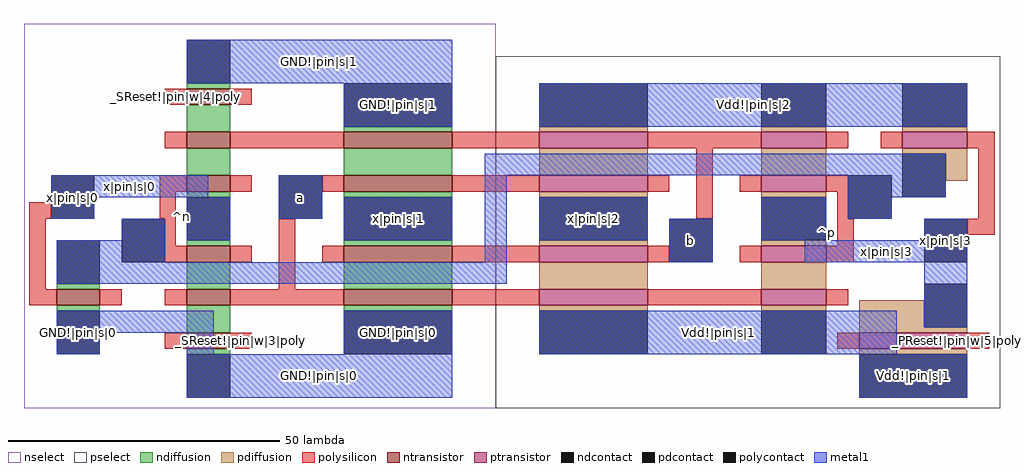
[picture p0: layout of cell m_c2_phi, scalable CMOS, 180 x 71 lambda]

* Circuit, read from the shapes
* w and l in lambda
.subckt m_c2_phi GND!|pin|s|0 GND!|pin|s|1 Vdd!|pin|s|1 Vdd!|pin|s|2 _PReset!|pin|w|5|poly _SReset!|pin|w|3|poly _SReset!|pin|w|4|poly a b x|pin|s|0 x|pin|s|1 x|pin|s|2 x|pin|s|3
M1 n1 x|pin|s|0 GND!|pin|s|0 VSUBS nfet w=8 l=3
M2 n2 _SReset!|pin|w|3|poly GND!|pin|s|0 VSUBS nfet w=8 l=3
M3 n3 a n2 VSUBS nfet w=8 l=3
M4 x|pin|s|0 n1 n3 VSUBS nfet w=8 l=3
M5 n4 n1 x|pin|s|0 VSUBS nfet w=8 l=3
M6 n5 b n4 VSUBS nfet w=8 l=3
M7 GND!|pin|s|1 _SReset!|pin|w|4|poly n5 VSUBS nfet w=8 l=3
M8 n6 a GND!|pin|s|0 VSUBS nfet w=20 l=3
M9 x|pin|s|1 b n6 VSUBS nfet w=20 l=3
M10 n7 a x|pin|s|1 VSUBS nfet w=20 l=3
M11 GND!|pin|s|1 b n7 VSUBS nfet w=20 l=3
M12 n8 a Vdd!|pin|s|1 NWELL pfet w=20 l=3
M13 x|pin|s|2 b n8 NWELL pfet w=20 l=3
M14 n9 a x|pin|s|2 NWELL pfet w=20 l=3
M15 Vdd!|pin|s|2 b n9 NWELL pfet w=20 l=3
M16 n10 a Vdd!|pin|s|1 NWELL pfet w=12 l=3
M17 x|pin|s|3 n1 n10 NWELL pfet w=12 l=3
M18 n11 n1 x|pin|s|3 NWELL pfet w=12 l=3
M19 Vdd!|pin|s|2 b n11 NWELL pfet w=12 l=3
M20 x|pin|s|3 _PReset!|pin|w|5|poly Vdd!|pin|s|1 NWELL pfet w=20 l=3
M21 Vdd!|pin|s|2 x|pin|s|3 n1 NWELL pfet w=12 l=3
.ends

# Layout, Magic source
magic
tech scmos
<< nselect >>
rect -87 -181 0 -110
<< pselect >>
rect 0 -181 93 -116
<< ndiffusion >>
rect -57 -122 -49 -121
rect -57 -130 -49 -125
rect -28 -130 -8 -129
rect -57 -138 -49 -133
rect -28 -138 -8 -133
rect -57 -142 -49 -141
rect -57 -151 -49 -150
rect -28 -142 -8 -141
rect -81 -159 -73 -158
rect -57 -159 -49 -154
rect -28 -151 -8 -150
rect -28 -159 -8 -154
rect -81 -163 -73 -162
rect -57 -167 -49 -162
rect -28 -163 -8 -162
rect -57 -171 -49 -170
<< pdiffusion >>
rect 8 -130 28 -129
rect 49 -130 61 -129
rect 75 -130 87 -129
rect 8 -138 28 -133
rect 8 -142 28 -141
rect 49 -138 61 -133
rect 75 -134 87 -133
rect 8 -151 28 -150
rect 49 -142 61 -141
rect 49 -151 61 -150
rect 83 -139 87 -134
rect 8 -159 28 -154
rect 49 -159 61 -154
rect 8 -163 28 -162
rect 49 -163 61 -162
rect 67 -166 79 -161
rect 67 -167 87 -166
rect 67 -171 87 -170
<< ntransistor >>
rect -57 -125 -49 -122
rect -57 -133 -49 -130
rect -28 -133 -8 -130
rect -57 -141 -49 -138
rect -28 -141 -8 -138
rect -57 -154 -49 -151
rect -28 -154 -8 -151
rect -81 -162 -73 -159
rect -57 -162 -49 -159
rect -28 -162 -8 -159
rect -57 -170 -49 -167
<< ptransistor >>
rect 8 -133 28 -130
rect 49 -133 61 -130
rect 75 -133 87 -130
rect 8 -141 28 -138
rect 49 -141 61 -138
rect 8 -154 28 -151
rect 49 -154 61 -151
rect 8 -162 28 -159
rect 49 -162 61 -159
rect 67 -170 87 -167
<< polysilicon >>
rect -61 -125 -57 -122
rect -49 -125 -45 -122
rect -61 -133 -57 -130
rect -49 -133 -28 -130
rect -8 -133 8 -130
rect 28 -133 49 -130
rect 61 -133 65 -130
rect 71 -133 75 -130
rect 87 -133 92 -130
rect -86 -146 -82 -143
rect -62 -141 -57 -138
rect -49 -141 -45 -138
rect -62 -146 -59 -141
rect -86 -159 -83 -146
rect -61 -151 -59 -146
rect -32 -141 -28 -138
rect -8 -141 8 -138
rect 28 -141 32 -138
rect -61 -154 -57 -151
rect -49 -154 -45 -151
rect -40 -159 -37 -146
rect 37 -146 40 -133
rect 45 -141 49 -138
rect 61 -141 65 -138
rect -32 -154 -28 -151
rect -8 -154 8 -151
rect 28 -154 32 -151
rect 63 -146 65 -141
rect 89 -146 92 -133
rect 63 -151 66 -146
rect 45 -154 49 -151
rect 61 -154 66 -151
rect 87 -149 92 -146
rect -86 -162 -81 -159
rect -73 -162 -69 -159
rect -61 -162 -57 -159
rect -49 -162 -28 -159
rect -8 -162 8 -159
rect 28 -162 49 -159
rect 61 -162 65 -159
rect -61 -170 -57 -167
rect -49 -170 -45 -167
rect 63 -170 67 -167
rect 87 -170 91 -167
<< ndcontact >>
rect -57 -121 -49 -113
rect -28 -129 -8 -121
rect -81 -158 -73 -150
rect -57 -150 -49 -142
rect -28 -150 -8 -142
rect -81 -171 -73 -163
rect -28 -171 -8 -163
rect -57 -179 -49 -171
<< pdcontact >>
rect 8 -129 28 -121
rect 49 -129 61 -121
rect 75 -129 87 -121
rect 8 -150 28 -142
rect 49 -150 61 -142
rect 75 -142 83 -134
rect 8 -171 28 -163
rect 49 -171 61 -163
rect 79 -166 87 -158
rect 67 -179 87 -171
<< polycontact >>
rect -82 -146 -74 -138
rect -69 -154 -61 -146
rect -40 -146 -32 -138
rect 32 -154 40 -146
rect 65 -146 73 -138
rect 79 -154 87 -146
<< metal1 >>
rect -57 -121 -8 -113
rect -28 -129 -8 -121
rect 8 -129 87 -121
rect -2 -138 83 -134
rect -82 -142 -53 -138
rect -82 -146 -74 -142
rect -69 -150 -61 -146
rect -57 -150 -49 -142
rect -40 -146 -32 -138
rect -28 -150 -8 -142
rect -81 -154 -61 -150
rect -2 -154 2 -138
rect 65 -142 83 -138
rect 8 -150 28 -142
rect 32 -154 40 -146
rect 49 -150 61 -142
rect 65 -146 73 -142
rect 79 -150 87 -146
rect 57 -154 87 -150
rect -81 -158 2 -154
rect -81 -167 -52 -163
rect -81 -171 -73 -167
rect -57 -171 -52 -167
rect -28 -171 -8 -163
rect 8 -171 74 -163
rect 79 -166 87 -154
rect -57 -179 -8 -171
rect 67 -179 87 -171
<< labels >>
rlabel metal1 32 -154 40 -146 1 b
rlabel metal1 -40 -146 -32 -138 1 a
rlabel space -88 -181 -28 -110 7 ^n
rlabel space 28 -181 94 -116 3 ^p
rlabel metal1 -81 -171 -73 -163 1 GND!|pin|s|0
rlabel metal1 -28 -171 -8 -163 1 GND!|pin|s|0
rlabel metal1 8 -171 74 -163 1 Vdd!|pin|s|1
rlabel metal1 67 -179 87 -171 1 Vdd!|pin|s|1
rlabel polysilicon -61 -170 -57 -167 1 _SReset!|pin|w|3|poly
rlabel polysilicon -49 -170 -45 -167 1 _SReset!|pin|w|3|poly
rlabel polysilicon -61 -125 -57 -122 1 _SReset!|pin|w|4|poly
rlabel polysilicon -49 -125 -45 -122 1 _SReset!|pin|w|4|poly
rlabel polysilicon 87 -170 91 -167 1 _PReset!|pin|w|5|poly
rlabel metal1 8 -129 87 -121 1 Vdd!|pin|s|2
rlabel metal1 -28 -129 -8 -121 1 GND!|pin|s|1
rlabel metal1 -57 -121 -8 -113 1 GND!|pin|s|1
rlabel metal1 -82 -142 -53 -138 1 x|pin|s|0
rlabel metal1 -57 -150 -49 -142 1 x|pin|s|0
rlabel metal1 -28 -150 -8 -142 1 x|pin|s|1
rlabel metal1 8 -150 28 -142 1 x|pin|s|2
rlabel metal1 49 -150 61 -142 1 x|pin|s|3
rlabel metal1 57 -154 87 -150 1 x|pin|s|3
rlabel metal1 79 -154 87 -146 1 x|pin|s|3
rlabel metal1 -82 -146 -74 -138 1 x|pin|s|0
rlabel metal1 -57 -179 -8 -171 1 GND!|pin|s|0
<< end >>
